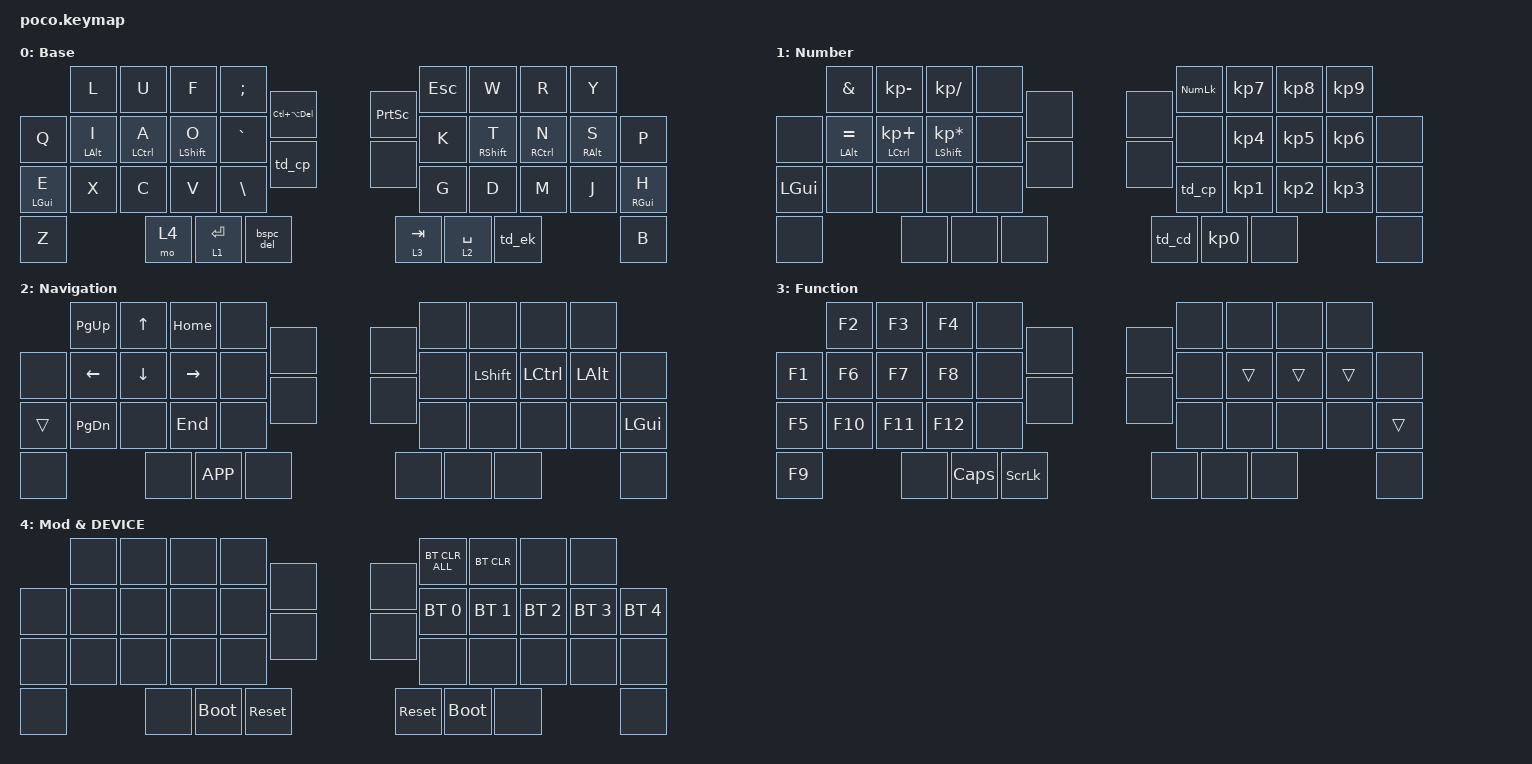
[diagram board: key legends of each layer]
#include <behaviors.dtsi>
#include <dt-bindings/zmk/keys.h>
#include <dt-bindings/zmk/bt.h>

/ {
    behaviors {
        hmr_l: hmr_l {
            compatible = "zmk,behavior-hold-tap";
            label = "HMR_L";
            bindings = <&kp>, <&kp>;

            #binding-cells = <2>;
            tapping-term-ms = <200>;
            flavor = "balanced";
            hold-trigger-key-positions = <36 37 38 39 26 27 28 29 30 31 14 15 16 17 18 19 4 5 6 7>;
            hold-trigger-on-release;
            require-prior-idle-ms = <150>;
        };
        hmr_r: hmr_r {
            compatible = "zmk,behavior-hold-tap";
            label = "HMR_R";
            bindings = <&kp>, <&kp>;

            #binding-cells = <2>;
            tapping-term-ms = <200>;
            flavor = "balanced";
            hold-trigger-key-positions = <32 33 34 35 20 21 22 23 24 25 8 9 10 11 12 13 0 1 2 3>;
            hold-trigger-on-release;
            require-prior-idle-ms = <150>;
        };

        hmr_l_2: hmr_l_2 {
            compatible = "zmk,behavior-hold-tap";
            label = "HMR_L_2";
            bindings = <&kp>, <&kp>;

            #binding-cells = <2>;
            tapping-term-ms = <200>;
            flavor = "balanced";
            hold-trigger-key-positions = <36 37 38 39 26 27 28 29 30 31 14 15 16 17 18 19 4 5 6 7>;
            hold-trigger-on-release;
            require-prior-idle-ms = <150>;
            hold-while-undecided;
        };
        hmr_r_2: hmr_r_2 {
            compatible = "zmk,behavior-hold-tap";
            label = "HMR_R_2";
            bindings = <&kp>, <&kp>;

            #binding-cells = <2>;
            tapping-term-ms = <200>;
            flavor = "balanced";
            hold-trigger-key-positions = <32 33 34 35 20 21 22 23 24 25 8 9 10 11 12 13 0 1 2 3>;
            hold-trigger-on-release;
            require-prior-idle-ms = <150>;
            hold-while-undecided;
        };

        hold_tap: hold_tap {
            compatible = "zmk,behavior-hold-tap";
            label = "Hold / Tap";
            bindings = <&kp>, <&kp>;

            #binding-cells = <2>;
            tapping-term-ms = <200>;
            flavor = "tap-preferred";
        };

        td_cp: td_cp {
            compatible = "zmk,behavior-tap-dance";
            label = "Copy / Cut / Paste";
            bindings = <&hold_tap LC(C) LC(X)>, <&kp LC(V)>;

            #binding-cells = <0>;
            tapping-term-ms = <200>;
        };

        td_cd: td_cd {
            compatible = "zmk,behavior-tap-dance";
            bindings = <&kp COMMA>, <&kp KP_DOT>;

            #binding-cells = <0>;
            tapping-term-ms = <200>;
        };

        td_ek: td_ek {
            compatible = "zmk,behavior-tap-dance";
            label = "Eisu / Kana";
            bindings = <&kp LANG2>, <&kp LANG1>;

            #binding-cells = <0>;
            tapping-term-ms = <250>;
        };

        bspc_del: bspc_del {
            compatible = "zmk,behavior-mod-morph";
            label = "BSPC / DEL";
            bindings = <&kp BSPC>, <&kp DEL>;

            #binding-cells = <0>;
            mods = <(MOD_LSFT|MOD_RSFT)>;
        };

        lpar_lt: lpar_lt {
            compatible = "zmk,behavior-mod-morph";
            label = "LPAR / LTHAN";
            bindings = <&kp LPAR>, <&kp LT>;

            #binding-cells = <0>;
            mods = <(MOD_LSFT|MOD_RSFT)>;
            keep-mods = <0>;
        };
        rpar_gt: rpar_gt {
            compatible = "zmk,behavior-mod-morph";
            label = "RPAR / GTHAN";
            bindings = <&kp RPAR>, <&kp GT>;

            #binding-cells = <0>;
            mods = <(MOD_LSFT|MOD_RSFT)>;
            keep-mods = <0>;
        };
        at_hash: at_hash {
            compatible = "zmk,behavior-mod-morph";
            label = "AT / HASH";
            bindings = <&kp AT>, <&kp HASH>;

            #binding-cells = <0>;
            mods = <(MOD_LSFT|MOD_RSFT)>;
            keep-mods = <0>;
        };

        amps_caret: amps_caret {
            compatible = "zmk,behavior-mod-morph";
            label = "AMPS / CARET";
            bindings = <&kp AMPS>, <&kp CARET>;

            #binding-cells = <0>;
            mods = <(MOD_LSFT|MOD_RSFT)>;
            keep-mods = <0>;
        };
        prcnt_dllr: prcnt_dllr {
            compatible = "zmk,behavior-mod-morph";
            label = "PRCNT / DLLR";
            bindings = <&kp PRCNT>, <&kp DLLR>;

            #binding-cells = <0>;
            mods = <(MOD_LSFT|MOD_RSFT)>;
            keep-mods = <0>;
        };

        comma_excl: comma_excl {
            compatible = "zmk,behavior-mod-morph";
            label = "COMMA / EXCL";
            bindings = <&kp COMMA>, <&kp EXCL>;

            #binding-cells = <0>;
            mods = <(MOD_LSFT|MOD_RSFT)>;
            keep-mods = <0>;
        };
        dot_qmark: dot_qmark {
            compatible = "zmk,behavior-mod-morph";
            label = "DOT / QMARK";
            bindings = <&kp DOT>, <&kp QMARK>;

            #binding-cells = <0>;
            mods = <(MOD_LSFT|MOD_RSFT)>;
            keep-mods = <0>;
        };
    };

    combos {
        compatible = "zmk,combos";

        combo_lbkt {
            timeout-ms = <60>;
            layers = <0>;
            key-positions = <0 1>;
            bindings = <&kp LBKT>;
        };
        combo_rbkt {
            timeout-ms = <60>;
            layers = <0>;
            key-positions = <1 2>;
            bindings = <&kp RBKT>;
        };
        combo_at {
            timeout-ms = <60>;
            layers = <0>;
            key-positions = <2 3>;
            bindings = <&at_hash>;
        };

        combo_lpar {
            timeout-ms = <60>;
            layers = <0>;
            key-positions = <9 10>;
            bindings = <&lpar_lt>;
        };
        combo_rpar {
            timeout-ms = <60>;
            layers = <0>;
            key-positions = <10 11>;
            bindings = <&rpar_gt>;
        };
        combo_fslh {
            timeout-ms = <60>;
            layers = <0>;
            key-positions = <11 12>;
            bindings = <&kp FSLH>;
        };

        combo_sqt {
            timeout-ms = <60>;
            layers = <0>;
            key-positions = <4 5>;
            bindings = <&kp SQT>;
        };
        combo_amps {
            timeout-ms = <60>;
            layers = <0>;
            key-positions = <5 6>;
            bindings = <&amps_caret>;
        };
        combo_prcnt {
            timeout-ms = <60>;
            layers = <0>;
            key-positions = <6 7>;
            bindings = <&prcnt_dllr>;
        };

        combo_minus {
            timeout-ms = <60>;
            layers = <0>;
            key-positions = <15 16>;
            bindings = <&kp MINUS>;
        };
        combo_comma {
            timeout-ms = <60>;
            layers = <0>;
            key-positions = <16 17>;
            bindings = <&comma_excl>;
        };
        combo_dot {
            timeout-ms = <60>;
            layers = <0>;
            key-positions = <17 18>;
            bindings = <&dot_qmark>;
        };
    };

    keymap {
        compatible = "zmk,keymap";

        // template {
            //     bindings = <
            //                &trans &trans &trans &trans        /**/        &trans &trans &trans &trans
            //         &trans &trans &trans &trans &trans &trans /**/ &trans &trans &trans &trans &trans &trans
            //         &trans &trans &trans &trans &trans &trans /**/ &trans &trans &trans &trans &trans &trans
            //         &trans        &trans &trans &trans        /**/        &trans &trans &trans        &trans
            //     >;
        // };

        default_layer {
            display-name = "Base";

            // -----------------------------------------------------------------------------------------
            //         |   L   |   U   |   F   |   ;   |/*----------------*/|  ESC  |   W   |   R   |   Y   |
            // |   Q   |   I   |   A   |   O   |   `   | C+A+D |/**/| PSCRN |   K   |   T   |   N   |   S   |   P   |
            // |   E   |   X   |   C   |   V   |   \   | td_cp |/**/|       |   G   |   D   |   M   |   J   |   H   |
            // |   Z   |/*---*/|  MO4  | ENTER | BSPC  |/*----------------*/|  TAB  | SPACE | LANG  |/*---*/|   B   |


            bindings = <
                              &kp L         &kp U          &kp F          &kp SEMI                  /**/           &kp ESC   &kp W          &kp R          &kp Y
                &kp Q         &hmr_l LALT I &hmr_l LCTRL A &hmr_l LSHFT O &kp GRAVE &kp LC(LA(DEL)) /**/ &kp PSCRN &kp K     &hmr_r RSHFT T &hmr_r RCTRL N &hmr_r RALT S &kp P
                &hmr_l LGUI E &kp X         &kp C          &kp V          &kp BSLH  &td_cp          /**/ &none     &kp G     &kp D          &kp M          &kp J         &hmr_r RGUI H
                &kp Z                       &mo 4          &lt 1 ENTER    &bspc_del                 /**/           &lt 3 TAB &lt 2 SPACE    &td_ek                       &kp B
            >;
        };

        number_layer {
            display-name = "Number";

            // -----------------------------------------------------------------------------------------
            //         |   %   |   -   |   /   |       |/*----------------*/| Num   |   7   |   8   |   9   |
            // |       |   =   |   +   |   *   |       |       |/**/|       |   4   |   5   |   6   |       |       |
            // | LGUI  |       |       |       |       |       |/**/| Copy  |   1   |   2   |   3   |       |       |
            // |       |/*---*/|       |       |       |/*----------------*/| , / . |   0   |       |/*---*/|       |

            bindings = <
                         &kp AMPS          &kp KP_MINUS         &kp KP_DIVIDE            &none       /**/       &kp KP_NUM &kp KP_N7 &kp KP_N8 &kp KP_N9
                &none    &hmr_l LALT EQUAL &hmr_l LCTRL KP_PLUS &hmr_l LSHFT KP_ASTERISK &none &none /**/ &none &none      &kp KP_N4 &kp KP_N5 &kp KP_N6 &none
                &kp LGUI &none             &none                &none                    &none &none /**/ &none &td_cp     &kp KP_N1 &kp KP_N2 &kp KP_N3 &none
                &none                      &none                &none                    &none       /**/       &td_cd     &kp KP_N0 &none               &none
            >;
        };

        navigation_layer {
            display-name = "Navigation";

            // -----------------------------------------------------------------------------------------
            //         | P-Up  |  Up   | Home  |       |/*----------------*/|       |       |       |       |
            // |       | Left  | Down  | Right |       |       |/**/|       |       | LSHFT | LCTRL | LAlt  |       |
            // | LGUI  | P-Down|       |  End  |       |       |/**/|       |       |       |       |       | LGUT  |
            // |       |/*---*/|       | CMENU |       |/*----------------*/|       |       |       |/*---*/|       |

            bindings = <
                       &kp PG_UP &kp UP   &kp HOME  &none       /**/       &none &none     &none     &none
                &none  &kp LEFT  &kp DOWN &kp RIGHT &none &none /**/ &none &none &kp LSHFT &kp LCTRL &kp LALT &none
                &trans &kp PG_DN &none    &kp END   &none &none /**/ &none &none &none     &none     &none    &kp LGUI
                &none            &none    &kp K_APP &none       /**/       &none &none     &none              &none
            >;
        };

        function_layer {
            display-name = "Function";

            // -----------------------------------------------------------------------------------------
            //         |  F2   |  F3   |  F4   |       |/*----------------*/|       |       |       |       |
            // |  F1   |  F6   |  F7   |  F8   |       |       |/**/|       |       | LSHFT | LCTRL | LAlt  |       |
            // |  F5   |  F10  |  F11  |  F12  |       |       |/**/|       |       |       |       |       | LGUT  |
            // |  F9   |/*---*/|       | CLCK  | SLCK  |/*----------------*/|       |       |       |/*---*/|       |

            bindings = <
                       &kp F2  &kp F3  &kp F4   &none          /**/       &none &none  &none  &none
                &kp F1 &kp F6  &kp F7  &kp F8   &none    &none /**/ &none &none &trans &trans &trans &none
                &kp F5 &kp F10 &kp F11 &kp F12  &none    &none /**/ &none &none &none  &none  &none  &trans
                &kp F9         &none   &kp CLCK &kp SLCK       /**/       &none &none  &none         &none
            >;
        };

        mod_layer {
            display-name = "Mod & DEVICE";

            // -----------------------------------------------------------------------------------------
            //         |       |       |       |       |/*----------------*/| BT CA | BT C  |       |       |
            // |       |       |       |       |       |       |/**/|       | BT 0  | BT 1  | BT 2  | BT 3  | BT 4  |
            // |       |       |       |       |       |       |/**/|       |       |       |       |       |       |
            // |       |/*---*/|       | Boot  | Reset |/*----------------*/| Reset | Boot  |       |       |/*---*/|

            bindings = <
                      &none &none &none       &none            /**/       &bt BT_CLR_ALL &bt BT_CLR   &none        &none
                &none &none &none &none       &none      &none /**/ &none &bt BT_SEL 0   &bt BT_SEL 1 &bt BT_SEL 2 &bt BT_SEL 3 &bt BT_SEL 4
                &none &none &none &none       &none      &none /**/ &none &none          &none        &none        &none        &none
                &none       &none &bootloader &sys_reset       /**/ &sys_reset           &bootloader  &none                     &none
            >;
        };
    };
};
